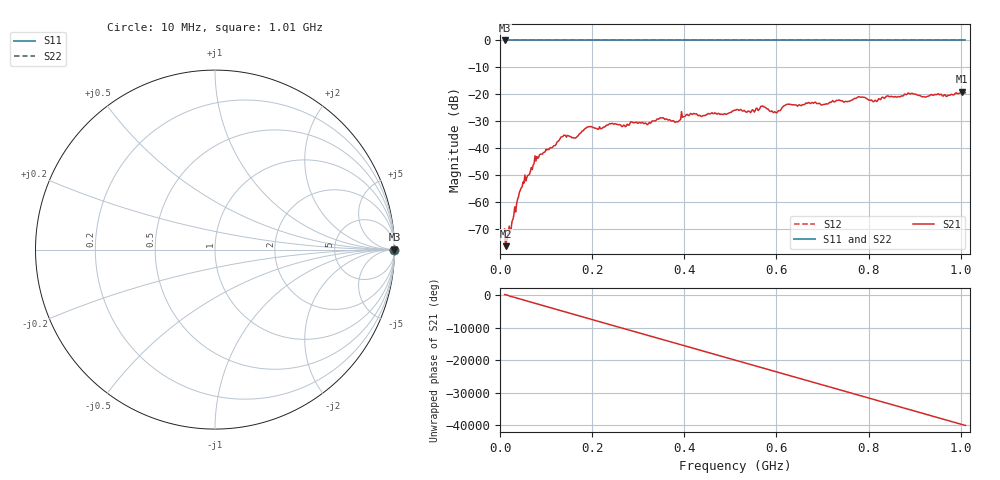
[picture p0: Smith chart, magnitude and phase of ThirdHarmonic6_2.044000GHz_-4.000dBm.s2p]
! 8/17/2025 12:30:32 AM
! C:\ANRITSUVNA\TEMP\TEMP.S2P
! CHANNEL.1
! TR.MEASUREMENT
! RAW.DATA
! RF.CORRECTION.OFF
! AVERAGING.OFF
! IF.BANDWIDTH: 5KHZ
! SWEEPTYPE:  FREQ.SWEEP(Linear)
! Reference Plane Port Info
! PORT:  PORT1  PORT2
! DISTANCE:  0  m  0  m
! TIME:  0  s  0  s
! PHASE.OFFSET:  0  deg.  0  deg.
! LOSS:  0  dB  0  dB
! REF.LOSS:  0  dB  0  dB
! REF.FREQ:  0  Hz  0  Hz
! Power Info
! POWER:  -20  dBm  -20  dBm
! EFF.POWER:  -20  dBm  -20  dBm
! SOURCE.ATTEN:  0  dB  0  dB
! TEST.ATTEN:  0  dB  0  dB
# GHZ S RI R 50.0
! FREQ.GHZ  S11RE  S11IM  S21RE  S21IM  S12RE  S12IM  S22RE  S22IM
!; PortSelection: Port_12
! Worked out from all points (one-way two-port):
!   501 points, 10 MHz to 1.01 GHz, reference 50 ohm
!   highest |S21| = -19.02 dB at 1.002 GHz (marker M1); lowest = -76.3 dB at 12 MHz (marker M2)
!   lowest |S11| = 0.0 dB at 10 MHz (marker M3)
!   |S11| at or under -10 dB: nowhere
!   |S22| runs from 0.0 to 0.0 dB; largest |S21 - S12| = 1.1
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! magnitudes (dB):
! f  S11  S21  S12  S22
! 10 MHz  0.0  -69.9  0.0  0.0
! 12 MHz  0.0  -76.3  0.0  0.0
! 16 MHz  0.0  -73.3  0.0  0.0
! 26 MHz  0.0  -67.2  0.0  0.0
! 50 MHz  0.0  -52.5  0.0  0.0
! 78 MHz  0.0  -44.7  0.0  0.0
! 136 MHz  0.0  -35.7  0.0  0.0
! 162 MHz  0.0  -36.2  0.0  0.0
! 178 MHz  0.0  -33.6  0.0  0.0
! 344 MHz  0.0  -29.2  0.0  0.0
! 384 MHz  0.0  -30.1  0.0  0.0
! 416 MHz  0.0  -27.3  0.0  0.0
! 510 MHz  0.0  -25.9  0.0  0.0
! 570 MHz  0.0  -24.3  0.0  0.0
! 598 MHz  0.0  -26.6  0.0  0.0
! 624 MHz  0.0  -23.6  0.0  0.0
! 678 MHz  0.0  -23.0  0.0  0.0
! 782 MHz  0.0  -21.0  0.0  0.0
! 814 MHz  0.0  -22.2  0.0  0.0
! 844 MHz  0.0  -20.8  0.0  0.0
! 1.002 GHz  0.0  -19.0  0.0  0.0
! 1.01 GHz  0.0  -19.4  0.0  0.0
